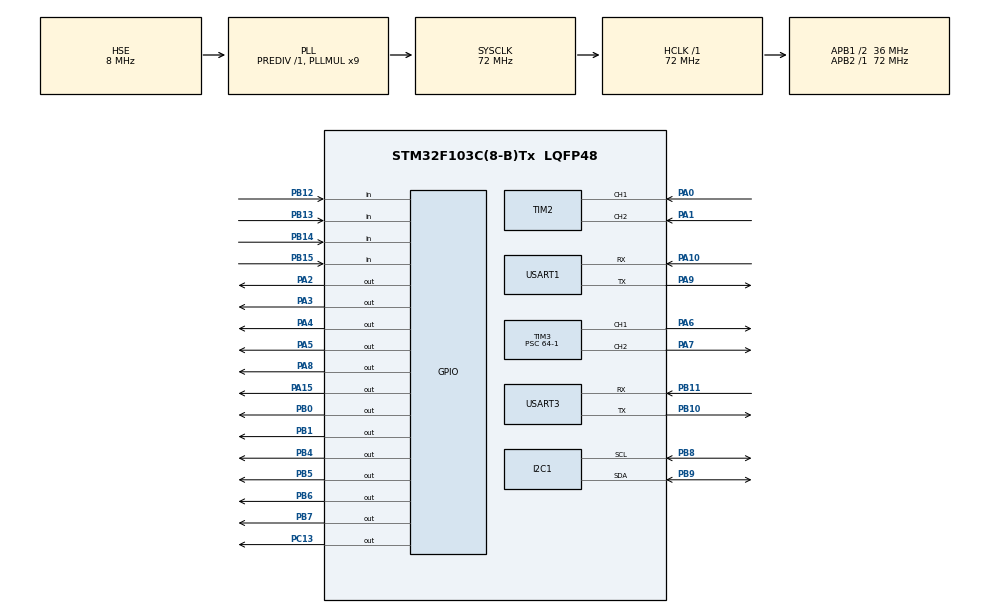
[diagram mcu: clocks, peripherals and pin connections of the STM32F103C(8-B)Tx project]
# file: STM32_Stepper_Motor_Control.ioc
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FREERTOS.Tasks01=defaultTask,0,128,StartDefaultTask,Default,NULL,Dynamic,NULL,NULL;ROTARY_ENCODER,-3,128,ROTARY_ENCODER_TASK_RUN,Default,NULL,Dynamic,NULL,NULL;STEPPER_MOTOR_T,-3,128,STEPPER_MOTOR_TASK_RUN,Default,NULL,Dynamic,NULL,NULL
FREERTOS.configTOTAL_HEAP_SIZE=16384
IWDG.Prescaler=IWDG_PRESCALER_128
IWDG.Reload=2300
Mcu.Family=STM32F1
Mcu.Name=STM32F103C(8-B)Tx
Mcu.Package=LQFP48
NVIC.PriorityGroup=NVIC_PRIORITYGROUP_4
NVIC.RTC_IRQn=true\:5\:0\:false\:false\:true\:true\:true\:true
NVIC.USART1_IRQn=true\:5\:0\:false\:false\:true\:true\:true\:true
NVIC.USART3_IRQn=true\:5\:0\:false\:false\:true\:true\:true\:true
PA0-WKUP.GPIO_PuPd=GPIO_PULLUP
PA0-WKUP.Signal=S_TIM2_CH1_ETR
PA1.GPIO_PuPd=GPIO_PULLUP
PA1.Signal=S_TIM2_CH2
PA10.Mode=Asynchronous
PA10.Signal=USART1_RX
PA13.Mode=Serial_Wire
PA13.Signal=SYS_JTMS-SWDIO
PA14.Mode=Serial_Wire
PA14.Signal=SYS_JTCK-SWCLK
PA15.Signal=GPIO_Output
PA2.Signal=GPIO_Output
PA3.Signal=GPIO_Output
PA4.Signal=GPIO_Output
PA5.Signal=GPIO_Output
PA6.Signal=S_TIM3_CH1
PA7.Signal=S_TIM3_CH2
PA8.Signal=GPIO_Output
PA9.Mode=Asynchronous
PA9.Signal=USART1_TX
PB0.Signal=GPIO_Output
PB1.Signal=GPIO_Output
PB10.Mode=Asynchronous
PB10.Signal=USART3_TX
PB11.Mode=Asynchronous
PB11.Signal=USART3_RX
PB12.GPIO_PuPd=GPIO_PULLUP
PB12.Signal=GPIO_Input
PB13.GPIO_PuPd=GPIO_PULLUP
PB13.Signal=GPIO_Input
PB14.GPIO_PuPd=GPIO_PULLUP
PB14.Signal=GPIO_Input
PB15.GPIO_PuPd=GPIO_PULLUP
PB15.Signal=GPIO_Input
PB4.Signal=GPIO_Output
PB5.Signal=GPIO_Output
PB6.Signal=GPIO_Output
PB7.Signal=GPIO_Output
PB8.Mode=I2C
PB8.Signal=I2C1_SCL
PB9.Mode=I2C
PB9.Signal=I2C1_SDA
PC13-TAMPER-RTC.Signal=GPIO_Output
PC14-OSC32_IN.Mode=LSE-External-Oscillator
PC14-OSC32_IN.Signal=RCC_OSC32_IN
PC15-OSC32_OUT.Mode=LSE-External-Oscillator
PC15-OSC32_OUT.Signal=RCC_OSC32_OUT
PD0-OSC_IN.Mode=HSE-External-Oscillator
PD0-OSC_IN.Signal=RCC_OSC_IN
PD1-OSC_OUT.Mode=HSE-External-Oscillator
PD1-OSC_OUT.Signal=RCC_OSC_OUT
ProjectManager.HeapSize=0x200
ProjectManager.StackSize=0x400
ProjectManager.TargetToolchain=EWARM V8
RCC.AHBFreq_Value=72000000
RCC.APB1CLKDivider=RCC_HCLK_DIV2
RCC.APB1Freq_Value=36000000
RCC.APB1TimFreq_Value=72000000
RCC.APB2Freq_Value=72000000
RCC.APB2TimFreq_Value=72000000
RCC.HCLKFreq_Value=72000000
RCC.PLLMUL=RCC_PLL_MUL9
RCC.PLLSourceVirtual=RCC_PLLSOURCE_HSE
RCC.RTCClockSelection=RCC_RTCCLKSOURCE_LSE
RCC.SYSCLKFreq_VALUE=72000000
RCC.SYSCLKSource=RCC_SYSCLKSOURCE_PLLCLK
RCC.USBFreq_Value=72000000
SH.S_TIM2_CH1_ETR.0=TIM2_CH1,Encoder_Interface
SH.S_TIM2_CH2.0=TIM2_CH2,Encoder_Interface
SH.S_TIM3_CH1.0=TIM3_CH1,PWM Generation1 CH1
SH.S_TIM3_CH2.0=TIM3_CH2,PWM Generation2 CH2
TIM2.AutoReloadPreload=TIM_AUTORELOAD_PRELOAD_ENABLE
TIM2.EncoderMode=TIM_ENCODERMODE_TI12
TIM2.IC1Filter=10
TIM2.IC2Filter=10
TIM3.AutoReloadPreload=TIM_AUTORELOAD_PRELOAD_ENABLE
TIM3.Channel-PWM\ Generation1\ CH1=TIM_CHANNEL_1
TIM3.Channel-PWM\ Generation2\ CH2=TIM_CHANNEL_2
TIM3.Period=2600-1
TIM3.Prescaler=64-1
USART1.VirtualMode=VM_ASYNC
USART3.VirtualMode=VM_ASYNC
VP_FREERTOS_VS_CMSIS_V1.Mode=CMSIS_V1
VP_IWDG_VS_IWDG.Mode=IWDG_Activate
VP_RTC_No_RTC_Output.Mode=RTC_OUT_NO
VP_RTC_VS_RTC_Activate.Mode=RTC_Enabled
VP_RTC_VS_RTC_Calendar.Mode=RTC_Calendar
VP_TIM3_VS_ClockSourceINT.Mode=Internal
board=custom

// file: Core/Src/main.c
/* USER CODE BEGIN Header */
/**
  ******************************************************************************
  * @file           : main.c
  * @brief          : Main program body
  ******************************************************************************
  * @attention
  *
  * <h2><center>&copy; Copyright (c) 2021 STMicroelectronics.
  * All rights reserved.</center></h2>
  *
  * This software component is licensed by ST under Ultimate Liberty license
  * SLA0044, the "License"; You may not use this file except in compliance with
  * the License. You may obtain a copy of the License at:
  *                             www.st.com/SLA0044
  *
  ******************************************************************************
  */
/* USER CODE END Header */
#include "main.h"
#include "cmsis_os.h"

/* USER CODE BEGIN Includes */
#include "APPLICATION_SETTINGS.h"
#include "LEDs/main_app_led.h"
#include "LCD_PCF8574/i2c-lcd.h"
#include "QUEUEs/queue_type.h"
#include "ROTARY_ENCODER/rotary_encoder_state_mashine.h"
#include "STEPPER_MOTOR/stepper_motor_state_mashine.h"
#include "STEPPER_MOTOR/execute_stepper_motor.h"
#include <stdio.h>
/* USER CODE END Includes */

I2C_HandleTypeDef hi2c1;

IWDG_HandleTypeDef hiwdg;

RTC_HandleTypeDef hrtc;

TIM_HandleTypeDef htim2;
TIM_HandleTypeDef htim3;

UART_HandleTypeDef huart1;
UART_HandleTypeDef huart3;

osThreadId defaultTaskHandle;
osThreadId ROTARY_ENCODERHandle;
osThreadId STEPPER_MOTOR_THandle;
/* USER CODE BEGIN PV */
//typedef struct {                                 // Message object structure
//  // float    voltage;                              // AD result of measured voltage
//  // float    current;                              // AD result of measured current
//  int      counter;                              // A counter value
//} T_MEAS;
// osPoolDef(mpool, 16, MOTOR_Queue_t);                    // Define memory pool
// extern osPoolId  mpool;
osMessageQDef(MsgBox, 16, QUEUE_MOTOR_t);              // Define message queue
extern osMessageQId  MsgBox;
// extern QUEUE_MOTOR_t MOTOR_Queue_RX;
/* USER CODE END PV */

void SystemClock_Config(void);
static void MX_GPIO_Init(void);
static void MX_TIM2_Init(void);
static void MX_USART1_UART_Init(void);
static void MX_I2C1_Init(void);
static void MX_TIM3_Init(void);
static void MX_RTC_Init(void);
static void MX_USART3_UART_Init(void);
static void MX_IWDG_Init(void);
void StartDefaultTask(void const * argument);
void ROTARY_ENCODER_TASK_RUN(void const * argument);
void STEPPER_MOTOR_TASK_RUN(void const * argument);

/* USER CODE BEGIN 0 */
void MAIN_APP_INIT(void)
{
  ROTARY_ENCODER_Init_Reference_Motor_Object_Ready(STEPPER_MOTOR_Get_Motor_Object_Ready_Flag);
}
/* USER CODE END 0 */

int main(void)
{

  /* MCU Configuration--------------------------------------------------------*/

  /* Reset of all peripherals, Initializes the Flash interface and the Systick. */
  HAL_Init();

  /* Configure the system clock */
  SystemClock_Config();

  /* Initialize all configured peripherals */
  MX_GPIO_Init();
  MX_TIM2_Init();
  MX_USART1_UART_Init();
  MX_I2C1_Init();
  MX_TIM3_Init();
  MX_RTC_Init();
  MX_USART3_UART_Init();
  MX_IWDG_Init();
  /* USER CODE BEGIN 2 */
  MAIN_APP_INIT();
  Disable_Motor_0();
  Disable_Motor_1();
  lcd_init ();
  lcd_send_string ("Potato planting");
  HAL_Delay(1000);
  lcd_put_cur(1, 0);
  lcd_send_string("machine");
  HAL_Delay(2000);
  lcd_clear ();
  lcd_put_cur(0, 0);

  /* USER CODE END 2 */

  /* USER CODE BEGIN RTOS_QUEUES */
  // mpool = osPoolCreate(osPool(mpool));                 // create memory pool
  MsgBox = osMessageCreate(osMessageQ(MsgBox), NULL);  // create msg queue
  /* USER CODE END RTOS_QUEUES */

  /* Create the thread(s) */
  /* definition and creation of defaultTask */
  osThreadDef(defaultTask, StartDefaultTask, osPriorityNormal, 0, 128);
  defaultTaskHandle = osThreadCreate(osThread(defaultTask), NULL);

  /* definition and creation of ROTARY_ENCODER */
  osThreadDef(ROTARY_ENCODER, ROTARY_ENCODER_TASK_RUN, osPriorityIdle, 0, 128);
  ROTARY_ENCODERHandle = osThreadCreate(osThread(ROTARY_ENCODER), NULL);

  /* definition and creation of STEPPER_MOTOR_T */
  osThreadDef(STEPPER_MOTOR_T, STEPPER_MOTOR_TASK_RUN, osPriorityIdle, 0, 128);
  STEPPER_MOTOR_THandle = osThreadCreate(osThread(STEPPER_MOTOR_T), NULL);

  /* USER CODE BEGIN RTOS_THREADS */
  HAL_UART_Transmit(&huart1, "\r\n ... RUN OS ... \r\n", sizeof("\r\n ... RUN OS ... \r\n"), 10);
  /* USER CODE END RTOS_THREADS */

  /* Start scheduler */
  osKernelStart();

  /* We should never get here as control is now taken by the scheduler */
  /* Infinite loop */
  while (1)
  {

  }
}

void SystemClock_Config(void)
{
  RCC_OscInitTypeDef RCC_OscInitStruct = {0};
  RCC_ClkInitTypeDef RCC_ClkInitStruct = {0};
  RCC_PeriphCLKInitTypeDef PeriphClkInit = {0};

  /** Initializes the RCC Oscillators according to the specified parameters
  * in the RCC_OscInitTypeDef structure.
  */
  RCC_OscInitStruct.OscillatorType = RCC_OSCILLATORTYPE_LSI|RCC_OSCILLATORTYPE_HSE
                              |RCC_OSCILLATORTYPE_LSE;
  RCC_OscInitStruct.HSEState = RCC_HSE_ON;
  RCC_OscInitStruct.HSEPredivValue = RCC_HSE_PREDIV_DIV1;
  RCC_OscInitStruct.LSEState = RCC_LSE_ON;
  RCC_OscInitStruct.HSIState = RCC_HSI_ON;
  RCC_OscInitStruct.LSIState = RCC_LSI_ON;
  RCC_OscInitStruct.PLL.PLLState = RCC_PLL_ON;
  RCC_OscInitStruct.PLL.PLLSource = RCC_PLLSOURCE_HSE;
  RCC_OscInitStruct.PLL.PLLMUL = RCC_PLL_MUL9;
  if (HAL_RCC_OscConfig(&RCC_OscInitStruct) != HAL_OK)
  {
    Error_Handler();
  }
  /** Initializes the CPU, AHB and APB buses clocks
  */
  RCC_ClkInitStruct.ClockType = RCC_CLOCKTYPE_HCLK|RCC_CLOCKTYPE_SYSCLK
                              |RCC_CLOCKTYPE_PCLK1|RCC_CLOCKTYPE_PCLK2;
  RCC_ClkInitStruct.SYSCLKSource = RCC_SYSCLKSOURCE_PLLCLK;
  RCC_ClkInitStruct.AHBCLKDivider = RCC_SYSCLK_DIV1;
  RCC_ClkInitStruct.APB1CLKDivider = RCC_HCLK_DIV2;
  RCC_ClkInitStruct.APB2CLKDivider = RCC_HCLK_DIV1;

  if (HAL_RCC_ClockConfig(&RCC_ClkInitStruct, FLASH_LATENCY_2) != HAL_OK)
  {
    Error_Handler();
  }
  PeriphClkInit.PeriphClockSelection = RCC_PERIPHCLK_RTC;
  PeriphClkInit.RTCClockSelection = RCC_RTCCLKSOURCE_LSE;
  if (HAL_RCCEx_PeriphCLKConfig(&PeriphClkInit) != HAL_OK)
  {
    Error_Handler();
  }
}

static void MX_I2C1_Init(void)
{

  hi2c1.Instance = I2C1;
  hi2c1.Init.ClockSpeed = 100000;
  hi2c1.Init.DutyCycle = I2C_DUTYCYCLE_2;
  hi2c1.Init.OwnAddress1 = 0;
  hi2c1.Init.AddressingMode = I2C_ADDRESSINGMODE_7BIT;
  hi2c1.Init.DualAddressMode = I2C_DUALADDRESS_DISABLE;
  hi2c1.Init.OwnAddress2 = 0;
  hi2c1.Init.GeneralCallMode = I2C_GENERALCALL_DISABLE;
  hi2c1.Init.NoStretchMode = I2C_NOSTRETCH_DISABLE;
  if (HAL_I2C_Init(&hi2c1) != HAL_OK)
  {
    Error_Handler();
  }

}

static void MX_IWDG_Init(void)
{

  hiwdg.Instance = IWDG;
  hiwdg.Init.Prescaler = IWDG_PRESCALER_128;
  hiwdg.Init.Reload = 2300;
  if (HAL_IWDG_Init(&hiwdg) != HAL_OK)
  {
    Error_Handler();
  }

}

static void MX_RTC_Init(void)
{

  RTC_TimeTypeDef sTime = {0};
  RTC_DateTypeDef DateToUpdate = {0};

  /** Initialize RTC Only
  */
  hrtc.Instance = RTC;
  hrtc.Init.AsynchPrediv = RTC_AUTO_1_SECOND;
  hrtc.Init.OutPut = RTC_OUTPUTSOURCE_NONE;
  if (HAL_RTC_Init(&hrtc) != HAL_OK)
  {
    Error_Handler();
  }

  /** Initialize RTC and set the Time and Date
  */
  sTime.Hours = 0x0;
  sTime.Minutes = 0x0;
  sTime.Seconds = 0x0;

  if (HAL_RTC_SetTime(&hrtc, &sTime, RTC_FORMAT_BCD) != HAL_OK)
  {
    Error_Handler();
  }
  DateToUpdate.WeekDay = RTC_WEEKDAY_MONDAY;
  DateToUpdate.Month = RTC_MONTH_JANUARY;
  DateToUpdate.Date = 0x1;
  DateToUpdate.Year = 0x0;

  if (HAL_RTC_SetDate(&hrtc, &DateToUpdate, RTC_FORMAT_BCD) != HAL_OK)
  {
    Error_Handler();
  }

}

static void MX_TIM2_Init(void)
{

  TIM_Encoder_InitTypeDef sConfig = {0};
  TIM_MasterConfigTypeDef sMasterConfig = {0};

  htim2.Instance = TIM2;
  htim2.Init.Prescaler = 0;
  htim2.Init.CounterMode = TIM_COUNTERMODE_UP;
  htim2.Init.Period = 65535;
  htim2.Init.ClockDivision = TIM_CLOCKDIVISION_DIV1;
  htim2.Init.AutoReloadPreload = TIM_AUTORELOAD_PRELOAD_ENABLE;
  sConfig.EncoderMode = TIM_ENCODERMODE_TI12;
  sConfig.IC1Polarity = TIM_ICPOLARITY_RISING;
  sConfig.IC1Selection = TIM_ICSELECTION_DIRECTTI;
  sConfig.IC1Prescaler = TIM_ICPSC_DIV1;
  sConfig.IC1Filter = 10;
  sConfig.IC2Polarity = TIM_ICPOLARITY_RISING;
  sConfig.IC2Selection = TIM_ICSELECTION_DIRECTTI;
  sConfig.IC2Prescaler = TIM_ICPSC_DIV1;
  sConfig.IC2Filter = 10;
  if (HAL_TIM_Encoder_Init(&htim2, &sConfig) != HAL_OK)
  {
    Error_Handler();
  }
  sMasterConfig.MasterOutputTrigger = TIM_TRGO_RESET;
  sMasterConfig.MasterSlaveMode = TIM_MASTERSLAVEMODE_DISABLE;
  if (HAL_TIMEx_MasterConfigSynchronization(&htim2, &sMasterConfig) != HAL_OK)
  {
    Error_Handler();
  }

}

static void MX_TIM3_Init(void)
{

  TIM_ClockConfigTypeDef sClockSourceConfig = {0};
  TIM_MasterConfigTypeDef sMasterConfig = {0};
  TIM_OC_InitTypeDef sConfigOC = {0};

  htim3.Instance = TIM3;
  htim3.Init.Prescaler = 64-1;
  htim3.Init.CounterMode = TIM_COUNTERMODE_UP;
  htim3.Init.Period = 2600-1;
  htim3.Init.ClockDivision = TIM_CLOCKDIVISION_DIV1;
  htim3.Init.AutoReloadPreload = TIM_AUTORELOAD_PRELOAD_ENABLE;
  if (HAL_TIM_Base_Init(&htim3) != HAL_OK)
  {
    Error_Handler();
  }
  sClockSourceConfig.ClockSource = TIM_CLOCKSOURCE_INTERNAL;
  if (HAL_TIM_ConfigClockSource(&htim3, &sClockSourceConfig) != HAL_OK)
  {
    Error_Handler();
  }
  if (HAL_TIM_PWM_Init(&htim3) != HAL_OK)
  {
    Error_Handler();
  }
  sMasterConfig.MasterOutputTrigger = TIM_TRGO_RESET;
  sMasterConfig.MasterSlaveMode = TIM_MASTERSLAVEMODE_DISABLE;
  if (HAL_TIMEx_MasterConfigSynchronization(&htim3, &sMasterConfig) != HAL_OK)
  {
    Error_Handler();
  }
  sConfigOC.OCMode = TIM_OCMODE_PWM1;
  sConfigOC.Pulse = 0;
  sConfigOC.OCPolarity = TIM_OCPOLARITY_HIGH;
  sConfigOC.OCFastMode = TIM_OCFAST_DISABLE;
  if (HAL_TIM_PWM_ConfigChannel(&htim3, &sConfigOC, TIM_CHANNEL_1) != HAL_OK)
  {
    Error_Handler();
  }
  if (HAL_TIM_PWM_ConfigChannel(&htim3, &sConfigOC, TIM_CHANNEL_2) != HAL_OK)
  {
    Error_Handler();
  }
  HAL_TIM_MspPostInit(&htim3);

}

static void MX_USART1_UART_Init(void)
{

  huart1.Instance = USART1;
  huart1.Init.BaudRate = 115200;
  huart1.Init.WordLength = UART_WORDLENGTH_8B;
  huart1.Init.StopBits = UART_STOPBITS_1;
  huart1.Init.Parity = UART_PARITY_NONE;
  huart1.Init.Mode = UART_MODE_TX_RX;
  huart1.Init.HwFlowCtl = UART_HWCONTROL_NONE;
  huart1.Init.OverSampling = UART_OVERSAMPLING_16;
  if (HAL_UART_Init(&huart1) != HAL_OK)
  {
    Error_Handler();
  }

}

static void MX_USART3_UART_Init(void)
{

  huart3.Instance = USART3;
  huart3.Init.BaudRate = 115200;
  huart3.Init.WordLength = UART_WORDLENGTH_8B;
  huart3.Init.StopBits = UART_STOPBITS_1;
  huart3.Init.Parity = UART_PARITY_NONE;
  huart3.Init.Mode = UART_MODE_TX_RX;
  huart3.Init.HwFlowCtl = UART_HWCONTROL_NONE;
  huart3.Init.OverSampling = UART_OVERSAMPLING_16;
  if (HAL_UART_Init(&huart3) != HAL_OK)
  {
    Error_Handler();
  }

}

static void MX_GPIO_Init(void)
{
  GPIO_InitTypeDef GPIO_InitStruct = {0};

  /* GPIO Ports Clock Enable */
  __HAL_RCC_GPIOC_CLK_ENABLE();
  __HAL_RCC_GPIOD_CLK_ENABLE();
  __HAL_RCC_GPIOA_CLK_ENABLE();
  __HAL_RCC_GPIOB_CLK_ENABLE();

  /*Configure GPIO pin Output Level */
  HAL_GPIO_WritePin(GPIOC, GPIO_PIN_13, GPIO_PIN_RESET);

  /*Configure GPIO pin Output Level */
  HAL_GPIO_WritePin(GPIOA, GPIO_PIN_2|GPIO_PIN_3|GPIO_PIN_4|GPIO_PIN_5
                          |GPIO_PIN_8|GPIO_PIN_15, GPIO_PIN_RESET);

  /*Configure GPIO pin Output Level */
  HAL_GPIO_WritePin(GPIOB, GPIO_PIN_0|GPIO_PIN_1|GPIO_PIN_4|GPIO_PIN_5
                          |GPIO_PIN_6|GPIO_PIN_7, GPIO_PIN_RESET);

  /*Configure GPIO pin : PC13 */
  GPIO_InitStruct.Pin = GPIO_PIN_13;
  GPIO_InitStruct.Mode = GPIO_MODE_OUTPUT_PP;
  GPIO_InitStruct.Pull = GPIO_NOPULL;
  GPIO_InitStruct.Speed = GPIO_SPEED_FREQ_LOW;
  HAL_GPIO_Init(GPIOC, &GPIO_InitStruct);

  /*Configure GPIO pins : PA2 PA3 PA4 PA5
                           PA8 PA15 */
  GPIO_InitStruct.Pin = GPIO_PIN_2|GPIO_PIN_3|GPIO_PIN_4|GPIO_PIN_5
                          |GPIO_PIN_8|GPIO_PIN_15;
  GPIO_InitStruct.Mode = GPIO_MODE_OUTPUT_PP;
  GPIO_InitStruct.Pull = GPIO_NOPULL;
  GPIO_InitStruct.Speed = GPIO_SPEED_FREQ_LOW;
  HAL_GPIO_Init(GPIOA, &GPIO_InitStruct);

  /*Configure GPIO pins : PB0 PB1 PB4 PB5
                           PB6 PB7 */
  GPIO_InitStruct.Pin = GPIO_PIN_0|GPIO_PIN_1|GPIO_PIN_4|GPIO_PIN_5
                          |GPIO_PIN_6|GPIO_PIN_7;
  GPIO_InitStruct.Mode = GPIO_MODE_OUTPUT_PP;
  GPIO_InitStruct.Pull = GPIO_NOPULL;
  GPIO_InitStruct.Speed = GPIO_SPEED_FREQ_LOW;
  HAL_GPIO_Init(GPIOB, &GPIO_InitStruct);

  /*Configure GPIO pins : PB12 PB13 PB14 PB15 */
  GPIO_InitStruct.Pin = GPIO_PIN_12|GPIO_PIN_13|GPIO_PIN_14|GPIO_PIN_15;
  GPIO_InitStruct.Mode = GPIO_MODE_INPUT;
  GPIO_InitStruct.Pull = GPIO_PULLUP;
  HAL_GPIO_Init(GPIOB, &GPIO_InitStruct);

}

void StartDefaultTask(void const * argument)
{
  /* USER CODE BEGIN 5 */
  /* Infinite loop */
  // HAL_UART_Transmit(&huart1, "RUN_DEFAULT_TASK\r\n", sizeof("RUN_DEFAULT_TASK\r\n"), 1000);
  // osDelay(1000);
  for(;;)
  {
    osDelay(1);
  }
  /* USER CODE END 5 */
}

void ROTARY_ENCODER_TASK_RUN(void const * argument)
{
  /* USER CODE BEGIN ROTARY_ENCODER_TASK_RUN */

  /*   https://deepbluembedded.com/stm32-timer-encoder-mode-stm32-rotary-encoder-interfacing/   */

  HAL_UART_Transmit(&huart1, "RUN ROTARY_ENCODER_Init_State_Mashine\r\n", sizeof("RUN ROTARY_ENCODER_Init_State_Mashine\r\n"), 10);

  ROTARY_ENCODER_Init_State_Mashine();

  HAL_TIM_Encoder_Start(&htim2, TIM_CHANNEL_ALL);
  osDelay(1000);
  /* Infinite loop */
  HAL_UART_Transmit(&huart1, "RUN_ENCODER_THREAD\r\n", sizeof("RUN_ENCODER_THREAD\r\n"), 10);
  for(;;)
  {
    HAL_IWDG_Refresh(&hiwdg);

    HAL_UART_Transmit(&huart1, " 1. RUN_ENCODER_TASK\r\n", sizeof(" 1. RUN_ENCODER_TASK\r\n"), 10);

    ROTARY_ENCODER_Run_State_Mashine();

    HAL_GPIO_WritePin(GPIOC, GPIO_PIN_13, GPIO_PIN_RESET);  // Led on Board
    LED_LCD(true);
    LED_UART1(true);
    LED_Button(true);
    LED_UART3(true);
    LED_EEPROM(true);
    LED_Encoder(true);
    osDelay(os_delay_rotary_encoder);
    LED_LCD(false);
    LED_UART1(false);
    LED_Button(false);
    LED_UART3(false);
    LED_EEPROM(false);
    LED_Encoder(false);
    HAL_GPIO_WritePin(GPIOC, GPIO_PIN_13, GPIO_PIN_SET);   // Led on Board
  }
  /* USER CODE END ROTARY_ENCODER_TASK_RUN */
}

void STEPPER_MOTOR_TASK_RUN(void const * argument)
{
  /* USER CODE BEGIN STEPPER_MOTOR_TASK_RUN */
  HAL_UART_Transmit(&huart1, "RUN_STEPPER_MOTOR_Init_State_Mashine\r\n", sizeof("RUN_STEPPER_MOTOR_Init_State_Mashine\r\n"), 10);
  STEPPER_MOTOR_Init_State_Mashine();

  SET_PWM_0(10);
  SET_PWM_1(10);

  HAL_TIM_PWM_Start(&htim3, TIM_CHANNEL_1);
  HAL_TIM_PWM_Start(&htim3, TIM_CHANNEL_2);

  /* Infinite loop */
  HAL_UART_Transmit(&huart1, "RUN_STEPPER_MOTOR_THREAD\r\n", sizeof("RUN_STEPPER_MOTOR_THREAD\r\n"), 10);
  for(;;)
  {
    // HAL_UART_Transmit(&huart1, "RUN_STEPPER_MOTOR_TASK  ", sizeof("RUN_STEPPER_MOTOR_TASK  "), 10);
    STEPPER_MOTOR_Run_State_Mashine();
    LED_Step_Motor_0(true);
    LED_Step_Motor_1(true);
    HAL_UART_Transmit(&huart1, " 2. END_STEPPER_MOTOR_TASK\r\n", sizeof(" 2. END_STEPPER_MOTOR_TASK\r\n"), 10);
    // osDelay(25);
    LED_Step_Motor_0(false);
    LED_Step_Motor_1(false);
    // osDelay(25);
  }
  /* USER CODE END STEPPER_MOTOR_TASK_RUN */
}

void Error_Handler(void)
{
  /* USER CODE BEGIN Error_Handler_Debug */
  /* User can add his own implementation to report the HAL error return state */
  HAL_UART_Transmit(&huart1, "Error Handler\r\n", sizeof("Error Handler\r\n"), 1000);
  __disable_irq();
  while (1)
  {
  }
  /* USER CODE END Error_Handler_Debug */
}

/************************ (C) COPYRIGHT STMicroelectronics *****END OF FILE****/
